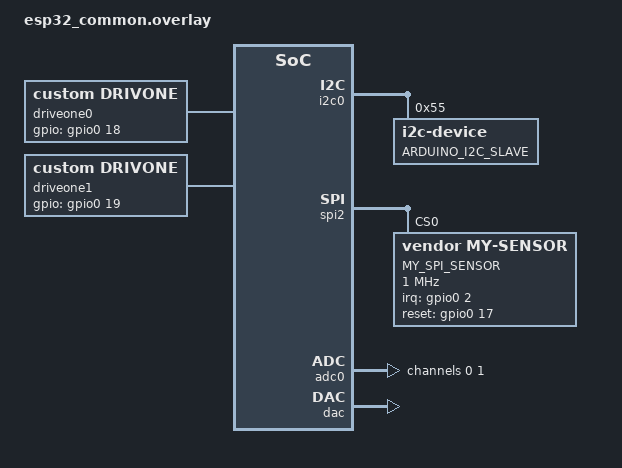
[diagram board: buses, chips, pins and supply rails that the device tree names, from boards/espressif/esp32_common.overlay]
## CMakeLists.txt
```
cmake_minimum_required(VERSION 3.20.0)
set(KCONFIG_ROOT ${CMAKE_CURRENT_SOURCE_DIR}/Kconfig)

set(BOARD_ROOT ${CMAKE_CURRENT_LIST_DIR})  # <— discover boards/*

set(BOARD my_esp32/esp32/procpu)
# set(DTC_OVERLAY_FILE ${CMAKE_CURRENT_LIST_DIR}/boards/espressif/esp32/my_esp32_procpu.overlay)
set(CMAKE_CXX_STANDARD  17)
set(CMAKE_CXX_STANDARD_REQUIRED  ON)
list(APPEND ZEPHYR_EXTRA_MODULES
# ${CMAKE_CURRENT_SOURCE_DIR}/gpio
${CMAKE_CURRENT_SOURCE_DIR}/interrupt
${CMAKE_CURRENT_SOURCE_DIR}/mytimers

${CMAKE_CURRENT_SOURCE_DIR}/drivers/drivOne
${CMAKE_CURRENT_SOURCE_DIR}/drivers/i2c
${CMAKE_CURRENT_SOURCE_DIR}/drivers/blue


)

find_package(Zephyr REQUIRED HINTS $ENV{ZEPHYR_BASE})




project(apps VERSION 0.1.0 LANGUAGES C CXX)
set(CMAKE_CXX_STANDARD 17)



target_sources(app PRIVATE src/main.cpp)

# Add PWMLE module


# add_subdirectory(gpio)
```

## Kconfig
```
source   "Kconfig.zephyr"
rsource "gpio/Kconfig"
rsource "dac/Kconfig"
rsource  "mytimers/Kconfig"
rsource   "drivers/drivOne/Kconfig"
rsource   "drivers/drivOne/Kconfig.drivone"
rsource   "drivers/i2c/Kconfig.itwoc"
rsource   "drivers/blue/Kconfig.blue"
```

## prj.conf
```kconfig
CONFIG_LOG=y
CONFIG_LOG_DEFAULT_LEVEL=3

CONFIG_SERIAL=y
CONFIG_CONSOLE=y
CONFIG_UART_CONSOLE=y
CONFIG_STDOUT_CONSOLE=y     # optional, if you use printf/puts
CONFIG_LOG=y
CONFIG_LOG_BACKEND_UART=y   # optional logging to UART
# CONFIG_GPIOPIN_PARAMETER=2

CONFIG_GPIO=y
# CONFIG_STD_CPP_VERSION=201703
# CONFIG_STD_CPP17=y
# CONFIG_STD_CPP2A is not set
# CONFIG_STD_CPP20 is not set
# CONFIG_STD_CPP2B is not set
# CONFIG_FULL_LIBCPP_SUPPORTED=y
# CONFIG_EXTERNAL_LIBCPP is not set
# CONFIG_EXTERNAL_MODULE_LIBCPP is not set

CONFIG_ADC=y
CONFIG_LOG=y
 # Optional: log immediately without buffering

CONFIG_LOG_DEFAULT_LEVEL=3




#################### cpp  section
# Enable C++ Support
CONFIG_CPP=y
CONFIG_STD_CPP17=y

# Enable C++ Runtime Features
CONFIG_CPP_EXCEPTIONS=y
CONFIG_CPP_RTTI=y


# Use full C++ standard library /for srl  containers


# Use Newlib as the C library (required for full C++ features)
CONFIG_NEWLIB_LIBC=y
CONFIG_REQUIRES_FULL_LIBCPP=y
# Required for <thread> and sleep
CONFIG_THREAD_NAME=y
CONFIG_THREAD_MONITOR=y
CONFIG_NEWLIB_LIBC_FLOAT_PRINTF=y

CONFIG_STDOUT_CONSOLE=y

CONFIG_RTT_CONSOLE=n  # Optional: depends on your setup

CONFIG_PICOLIBC=y
CONFIG_NEWLIB_LIBC=y
CONFIG_ISR_STACK_SIZE=2048
CONFIG_MAIN_STACK_SIZE=1024
CONFIG_IDLE_STACK_SIZE=320
CONFIG_SYSTEM_WORKQUEUE_STACK_SIZE=1024

#nested interrupts  and its levels
# CONFIG_MULTI_LEVEL_INTERRUPTS=y
# CONFIG_2ND_LEVEL_INTERRUPTS=y
# CONFIG_SMP=y
#manaual timer config
CONFIG_MANUAL_XTAL_TIMER=y

CONFIG_BUILD_OUTPUT_HEX=y
#CONFIG_DRIV_ONE=y
CONFIG_I2C=y
CONFIG_LOG_MODE_DEFERRED=y
CONFIG_LOG_BACKEND_UART=y
CONFIG_BLUE=y
```

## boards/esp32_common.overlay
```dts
// #include <dt-bindings/gpio/gpio.h>
// #include <dt-bindings/adc/adc.h>
/ {

	#address-cells = <0x1>;
#size-cells = <0x1>;

	aliases {
		my-adc0 = &adc0;
		my-adc0-channel0 = &adc0_ch0;
		my-adc0-channel1 = &adc0_ch1;
	};


    leds {
        compatible = "gpio-leds";
        led17: led_17 {
            gpios = <&gpio0 17 GPIO_ACTIVE_HIGH>;
            label = "Green LED 17";
        };
    };



};


&adc0  {
		compatible = "espressif,esp32-adc";
		status = "okay";
		#address-cells = <1>;

		#size-cells = <0>;

		adc0_ch0: channel@0 {
			reg = < 0 >;
			zephyr,gain = "ADC_GAIN_1_4";
			zephyr,reference = "ADC_REF_INTERNAL";
			zephyr,vref-mv = <3894>;
			zephyr,acquisition-time = <ADC_ACQ_TIME_DEFAULT>;
			zephyr,resolution = <12>;
		};

		adc0_ch1: channel@1 {
			reg = <1>;
			zephyr,reference = "ADC_REF_INTERNAL";
			zephyr,gain = "ADC_GAIN_1_4";
			zephyr,vref-mv = <3894>;
			zephyr,acquisition-time = <ADC_ACQ_TIME_DEFAULT>;
			zephyr,resolution = <12>;
		};
	};
```

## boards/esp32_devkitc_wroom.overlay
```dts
/dts-v1/;



/ {


	#address-cells = <0x1>;
#size-cells = <0x1>;

	aliases {
		my-adc0 = &adc0;
		my-adc0-channel0 = &adc0_ch0;
		my-adc0-channel1 = &adc0_ch1;
	};

	adc0: adc {
		compatible = "espressif,esp32-adc";
		status = "okay";
		#address-cells = <1>;
		#size-cells = <0>;

		adc0_ch0: channel@0 {
			reg = <0>;
			zephyr,gain = "ADC_GAIN_1_4";
			zephyr,reference = "ADC_REF_INTERNAL";
			zephyr,vref-mv = <3894>;
			zephyr,acquisition-time = <ADC_ACQ_TIME_DEFAULT>;
			zephyr,resolution = <12>;
		};

		adc0_ch1: channel@1 {
			reg = <1>;
			zephyr,gain = "ADC_GAIN_1_4";
			zephyr,reference = "ADC_REF_INTERNAL";
			zephyr,vref-mv = <3894>;
			zephyr,acquisition-time = <ADC_ACQ_TIME_DEFAULT>;
			zephyr,resolution = <12>;
		};
	};
};
```

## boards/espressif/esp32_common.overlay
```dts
/ {
	#address-cells = <1>;
	#size-cells = <1>;

	chosen {
		zephyr,console = &uart0;
	};

	aliases {
		my-spi = &spi2;
		my-adc0 = &adc0;
		my-adc0-channel0 = &adc0_ch0;
		my-adc0-channel1 = &adc0_ch1;
		    my-i2c-dev = &arduino_slave;

	};

	driveone0: driveone_0 {
		compatible = "custom,drivone";
		status = "okay";
		gpios = <&gpio0 18 GPIO_ACTIVE_HIGH>;
	};

	driveone1: driveone_1 {
		compatible = "custom,drivone";
		status = "okay";
		gpios = <&gpio0 19 GPIO_ACTIVE_HIGH>;
	};
};

&i2c0 {
	compatible = "espressif,esp32-i2c";
	reg = <0x3ff53000 0x1000>;
	interrupts = <0x31 0x0 0x0>;
	interrupt-parent = <&intc>;
	status = "okay";
	arduino_slave: arduino@55 {
		compatible = "zephyr,i2c-device";
		reg = <0x55>;
		label = "ARDUINO_I2C_SLAVE";
	};
};


&spi2 {
	status = "okay";
	pinctrl-0 = <&spim2_default>;
	pinctrl-names = "default";

	my_sensor@0 {
		compatible = "vendor,my-sensor"; // Replace with actual driver-compatible string
		reg = <0>;                        // Chip select index
		spi-max-frequency = <1000000>;
		label = "MY_SPI_SENSOR";

		irq-gpios = <&gpio0 2 GPIO_ACTIVE_HIGH>;
		reset-gpios = <&gpio0 17 GPIO_ACTIVE_HIGH>;
	};
};

&adc0 {
	status = "okay";
	#address-cells = <1>;
	#size-cells = <0>;

	adc0_ch0: channel@0 {
		reg = <0>;
		zephyr,gain = "ADC_GAIN_1_4";
		zephyr,reference = "ADC_REF_INTERNAL";
		zephyr,vref-mv = <3894>;
		zephyr,acquisition-time = <ADC_ACQ_TIME_DEFAULT>;
		zephyr,resolution = <12>;
	};

	adc0_ch1: channel@1 {
		reg = <1>;
		zephyr,gain = "ADC_GAIN_1_2";
		zephyr,reference = "ADC_REF_INTERNAL";
		zephyr,vref-mv = <3894>;
		zephyr,acquisition-time = <ADC_ACQ_TIME_DEFAULT>;
		zephyr,resolution = <12>;
	};
};

&dac {
	status = "okay";
	#io-channel-cells = <1>;
};
```

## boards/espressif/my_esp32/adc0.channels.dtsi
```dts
&adc0 {
    status = "okay";
        #address-cells = <1>;
    #size-cells = <0>;
    adc0_ch0: channel@0 {
        reg = <0>;
        zephyr,gain = "ADC_GAIN_1_4";
        zephyr,reference = "ADC_REF_INTERNAL";
        zephyr,vref-mv = <3894>;
        zephyr,acquisition-time = <ADC_ACQ_TIME_DEFAULT>;
        zephyr,resolution = <12>;
    };

    adc0_ch1: channel@1 {
        reg = <1>;
        zephyr,gain = "ADC_GAIN_1_4";
        zephyr,reference = "ADC_REF_INTERNAL";
        zephyr,vref-mv = <3894>;
        zephyr,acquisition-time = <ADC_ACQ_TIME_DEFAULT>;
        zephyr,resolution = <12>;
    };
};
```

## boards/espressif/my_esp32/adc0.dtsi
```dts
/ {
    adc0: adc {
        compatible = "espressif,esp32-adc";
        status = "okay";
        #address-cells = <1>;
        #size-cells = <0>;
    };
};
```

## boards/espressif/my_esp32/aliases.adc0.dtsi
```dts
/* aliases.adc0.dtsi */
 / {
   aliases {
     my-adc0 = &adc0;
     my-adc0-channel0 = &adc0_ch0;
     my-adc0-channel1 = &adc0_ch1;
   };
 };
```

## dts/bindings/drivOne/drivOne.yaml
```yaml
# # dts/bindings/gpio/custom,driveOne.yaml

description: Custom GPIO DriveOne Node

compatible: "custom,drivone"

include: base.yaml

properties:
  gpios:
    type: phandle-array
    required: true
    description: GPIO pin for output drive



# description: Custom GPIO driver for DriveOne

# compatible: "custom,driveOne"

# include: base.yaml

# properties:
#   gpios:
#     type: phandle-array
#     required: true
#     description: GPIO pin to be toggled by custom driver

#   reg:
#     type: array
#     required: true
#     description: Dummy register field (optional for unique address per instance)

#   label:
#     type: string
#     required: true
```

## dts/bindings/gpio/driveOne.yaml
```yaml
# # dts/bindings/gpio/custom,driveOne.yaml

description: Custom GPIO DriveOne Node

compatible: "custom,driveOne"

include: base.yaml

properties:
  gpios:
    type: phandle-array
    required: true
    description: GPIO pin for output drive



# description: Custom GPIO driver for DriveOne

# compatible: "custom,driveOne"

# include: base.yaml

# properties:
#   gpios:
#     type: phandle-array
#     required: true
#     description: GPIO pin to be toggled by custom driver

#   reg:
#     type: array
#     required: true
#     description: Dummy register field (optional for unique address per instance)

#   label:
#     type: string
#     required: true
    description: Human-readable device label
```

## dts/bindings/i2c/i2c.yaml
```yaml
description: Custom I2C GPIO Expander
compatible: "custom,gpio-i2c"

include: [base.yaml, gpio-controller.yaml, i2c-device.yaml]

properties:
  reg:
    required: true
    description: 7-bit I²C address

  ngpios:
    type: int
    description: Number of GPIOs exposed by the expander
    required: true

  clock_frequency:
    type: int
    description: "sI2C clock frequency in Hz"
    required: false



gpio-cells:
  - pin
  - flags

# Use ngpios to declare how many GPIOs this controller manages
```

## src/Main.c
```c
// #include   "led17.h"

#include <zephyr/kernel.h>
#include <zephyr/drivers/adc.h>
#include <zephyr/drivers/gpio.h>
#include <zephyr/drivers/dac.h>
#include <zephyr/drivers/i2c.h>
#include <errno.h>
#include  "itwoc.h"

#include <zephyr/logging/log.h>




#define I2C_DEV_NODE  DT_BUS(DT_ALIAS(my_i2c_dev))
#define I2C_DEV       DEVICE_DT_GET(I2C_DEV_NODE)
#define I2C_ADDR      DT_REG_ADDR(DT_ALIAS(my_i2c_dev))

#define I2C_DEV_LABEL   DT_LABEL(DT_NODELABEL(i2c0))
#define SLAVE_ADDR      0x55

const struct device *i2c_dev;

int main(void)
{
    char  tx_buf[2] = {  'A',   'B'};
      char  rx_buf[2];
i2c_dev=  I2C_DEV;


    if (!device_is_ready(i2c_dev)) {
        printk("Failed to get I2C device binding!\n");
        return;
    }

    else printk("I2C device initialized\n");

// int     ret = i2c_read(i2c_dev, rx_buf, sizeof(rx_buf), SLAVE_ADDR);
//     if (ret != 0) {
        // printk("I2C read failed: %d\n", ret);
//     } else {
        // printk("I2C read success: 0x%02X 0x%02X\n", rx_buf[0], rx_buf[1]);
//     }

int ret=0;
while(1){



    ret = i2c_write(i2c_dev, tx_buf, sizeof(tx_buf), SLAVE_ADDR);

    if (ret != 0) {

        printk("I2C write failed: %d\n\r", ret);

    } else {

        printk("I2C write success\n\r");

    }




	k_msleep(100
	);
}



return 0;
}
```

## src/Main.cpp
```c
extern "C" {
	#include   "led17.h"
	#include   "gpintrr.h"

	#include <zephyr/kernel.h>
	#include <zephyr/drivers/adc.h>
	#include <zephyr/drivers/gpio.h>
	#include <zephyr/drivers/dac.h>

	#include <zephyr/device.h>
	#include <zephyr/devicetree.h>
	#include "driveOne.h"
#include <zephyr/sys/printk.h>


}
K_KERNEL_STACK_DEFINE(gpio_stack_area, 1024);



 extern "C" int main(int argc, char** argv)
 {

	//  static struct k_thread gpio_thread_handler;


	//  struct k_thread gpio_thread_handler_one;
	//  k_tid_t gpio_thread_id = k_thread_create(
	// 	 &gpio_thread_handler, gpio_stack_area, K_KERNEL_STACK_SIZEOF(gpio_stack_area),
	// 	 gpio_thread_entry, NULL, NULL, NULL, 7, 0, K_NO_WAIT);






	const struct device *dev =DEVICE_DT_GET(DT_NODELABEL(mynode));
if(!device_is_ready(dev)) return -ENODEV;
else printk("forund the dev\n");





	while (1) {


		 k_msleep(2000);


		}





return 0;


		}
```

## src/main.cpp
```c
#include <iostream>
#include <chrono>
#include <thread>
#include "BlueOne.hpp"
#include <zephyr/logging/log.h>
LOG_MODULE_REGISTER(main, LOG_LEVEL_DBG);

#include <memory>
#include <zephyr/kernel.h>
using namespace std;
using namespace app::drivers::blue;
void cpp_main() {

std::unique_ptr<BlueOne>  make = make_unique<BlueOne>();

make->getSomething();






	while (true) {
k_sleep(K_SECONDS(2));

}


}

extern "C"   int main(void) {
    cpp_main();  // Call from C-compatible entry point



}
```

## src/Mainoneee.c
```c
/*
 * Copyright (c) 2020 Libre Solar Technologies GmbH
 *
 * SPDX-License-Identifier: Apache-2.0
 */

#include <inttypes.h>
#include <stddef.h>
#include <stdint.h>

#include <zephyr/device.h>
#include <zephyr/devicetree.h>
#include <zephyr/drivers/adc.h>
#include <zephyr/kernel.h>
#include <zephyr/sys/printk.h>
#include <zephyr/sys/util.h>

#if !DT_NODE_EXISTS(DT_PATH(zephyr_user)) || \
	!DT_NODE_HAS_PROP(DT_PATH(zephyr_user), io_channels)
#error "No suitable devicetree overlay specified"
#endif

#define DT_SPEC_AND_COMMA(node_id, prop, idx) \
	ADC_DT_SPEC_GET_BY_IDX(node_id, idx),

/* Data of ADC io-channels specified in devicetree. */
static const struct adc_dt_spec adc_channels[] = {
	DT_FOREACH_PROP_ELEM(DT_PATH(zephyr_user), io_channels,
			     DT_SPEC_AND_COMMA)
};

int main(void)
{
	int err;
	uint32_t count = 0;
	uint16_t buf;
	struct adc_sequence sequence = {
		.buffer = &buf,
		/* buffer size in bytes, not number of samples */
		.buffer_size = sizeof(buf),
	};

	/* Configure channels individually prior to sampling. */
	for (size_t i = 0U; i < ARRAY_SIZE(adc_channels); i++) {
		if (!adc_is_ready_dt(&adc_channels[i])) {
			printk("ADC controller device %s not ready\n", adc_channels[i].dev->name);
			return 0;
		}

		err = adc_channel_setup_dt(&adc_channels[i]);
		if (err < 0) {
			printk("Could not setup channel #%d (%d)\n", i, err);
			return 0;
		}
	}

#ifndef CONFIG_COVERAGE
	while (1) {
#else
	for (int k = 0; k < 10; k++) {
#endif
		printk("ADC reading[%u]:\n", count++);
		for (size_t i = 0U; i < ARRAY_SIZE(adc_channels); i++) {
			int32_t val_mv;

			printk("- %s, channel %d: ",
			       adc_channels[i].dev->name,
			       adc_channels[i].channel_id);

			(void)adc_sequence_init_dt(&adc_channels[i], &sequence);

			err = adc_read_dt(&adc_channels[i], &sequence);
			if (err < 0) {
				printk("Could not read (%d)\n", err);
				continue;
			}

			/*
			 * If using differential mode, the 16 bit value
			 * in the ADC sample buffer should be a signed 2's
			 * complement value.
			 */
			if (adc_channels[i].channel_cfg.differential) {
				val_mv = (int32_t)((int16_t)buf);
			} else {
				val_mv = (int32_t)buf;
			}
			printk("%"PRId32, val_mv);
			err = adc_raw_to_millivolts_dt(&adc_channels[i],
						       &val_mv);
			/* conversion to mV may not be supported, skip if not */
			if (err < 0) {
				printk(" (value in mV not available)\n");
			} else {
				printk(" = %"PRId32" mV\n", val_mv);
			}
		}

		k_sleep(K_MSEC(1000));
	}
	return 0;
}


}
```
